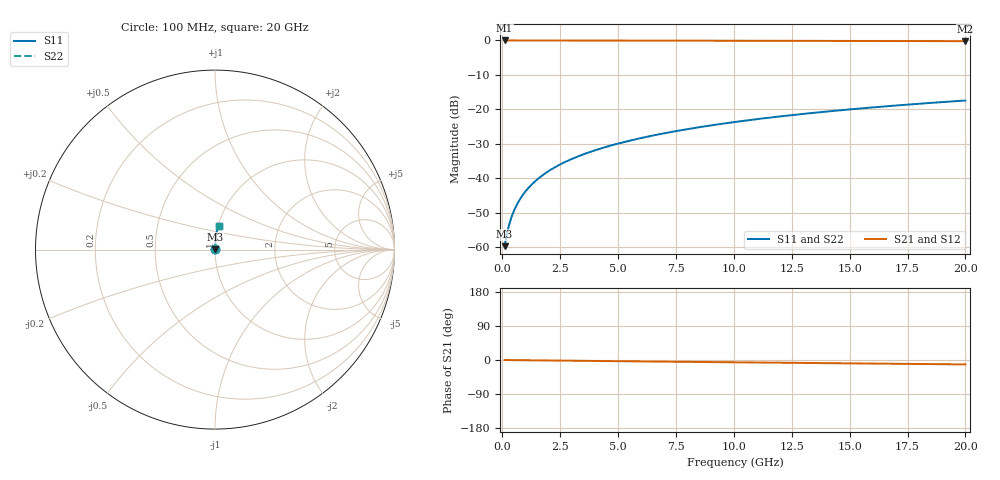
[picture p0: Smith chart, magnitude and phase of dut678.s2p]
! Touchstone file exported from HFSS 2024.1.0
!  File:  C:/UserFiles/LocalFiles/RDL_TSV_Batchsim/temp_RDL_top_678_1779782367.aedt
!  Generated:  04:01:37 PM May 26, 2026
!  Design:  RDL_top
!  Project:  temp_RDL_top_678_1779782367
!  Setup:  Setup1
!  Solution:  Sweep
! Variables:
!  dtsv = 10.80580581um
!  hbump = 3um
!  htsv = 96.53um
!  ldown = 100um
!  lrdl = 142.26um
!  p = 40
!  p1 = 41.55um
!  rhole = 1um
!  t = 450um
!  tdown = 3.915915916um
!  trdl = 4.77um
!  wdown = 15.38538539um
!  wrdl = 16.51um
# GHz S MA R 50.000000
! Terminal data exported
! Port[1] = Box2_T1
! Port[2] = Box2_T2
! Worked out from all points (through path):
!   200 points, 100 MHz to 20 GHz, reference 50 ohm
!   highest |S21| = -0.01 dB at 100 MHz (marker M1); lowest = -0.2 dB at 20 GHz (marker M2)
!   group delay of S21, straight-line fit = 1.6 ps
!   lowest |S11| = -59.7 dB at 100 MHz (marker M3), VSWR 1.00, Z = 50.1 + j0.0676 ohm
!   |S11| at or under -10 dB: start of sweep to end of sweep
!   |S22| runs from -59.7 to -17.4 dB; largest |S21 - S12| = 4.1e-15
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0.1  0.001031 40.9  0.9992 -0.1  0.9992 -0.1  0.001031 40.9
! Gamma 0 0 0 0
! Port Impedance 50 0 50 0
0.2  0.001558 58.7  0.9992 -0.1  0.9992 -0.1  0.001558 58.7
0.3  0.002141 66.9  0.9991 -0.2  0.9991 -0.2  0.002141 66.9
0.4  0.002738 71.6  0.9991 -0.3  0.9991 -0.3  0.002738 71.6
0.5  0.003342 74.7  0.9991 -0.3  0.9991 -0.3  0.003342 74.7
0.6  0.003951 76.9  0.999 -0.4  0.999 -0.4  0.003951 76.9
0.8  0.005181 79.9  0.999 -0.5  0.999 -0.5  0.005181 79.9
1.1  0.007044 82.4  0.9989 -0.7  0.9989 -0.7  0.007044 82.4
1.5  0.009546 84.2  0.9987 -1.0  0.9987 -1.0  0.009546 84.2
1.8  0.01143 85.1  0.9986 -1.2  0.9986 -1.2  0.01143 85.1
2.1  0.01332 85.7  0.9984 -1.4  0.9984 -1.4  0.01332 85.7
2.7  0.01711 86.5  0.998 -1.7  0.998 -1.7  0.01711 86.5
3.5  0.02219 87.0  0.9973 -2.2  0.9973 -2.2  0.02219 87.0
4.2  0.02666 87.3  0.9966 -2.7  0.9966 -2.7  0.02666 87.3
5  0.03181 87.5  0.9957 -3.2  0.9957 -3.2  0.03181 87.5
5.9  0.03766 87.6  0.9946 -3.7  0.9946 -3.7  0.03766 87.6
6.8  0.04358 87.5  0.9935 -4.2  0.9935 -4.2  0.04358 87.5
8.3  0.0536 87.3  0.9916 -5.1  0.9916 -5.1  0.0536 87.3
10.1  0.06583 86.7  0.9892 -6.1  0.9892 -6.1  0.06583 86.7
13.4  0.0886 85.2  0.9849 -8.0  0.9849 -8.0  0.0886 85.2
16.7  0.1115 83.4  0.9806 -9.8  0.9806 -9.8  0.1115 83.4
20  0.1342 81.5  0.9761 -11.6  0.9761 -11.6  0.1342 81.5
